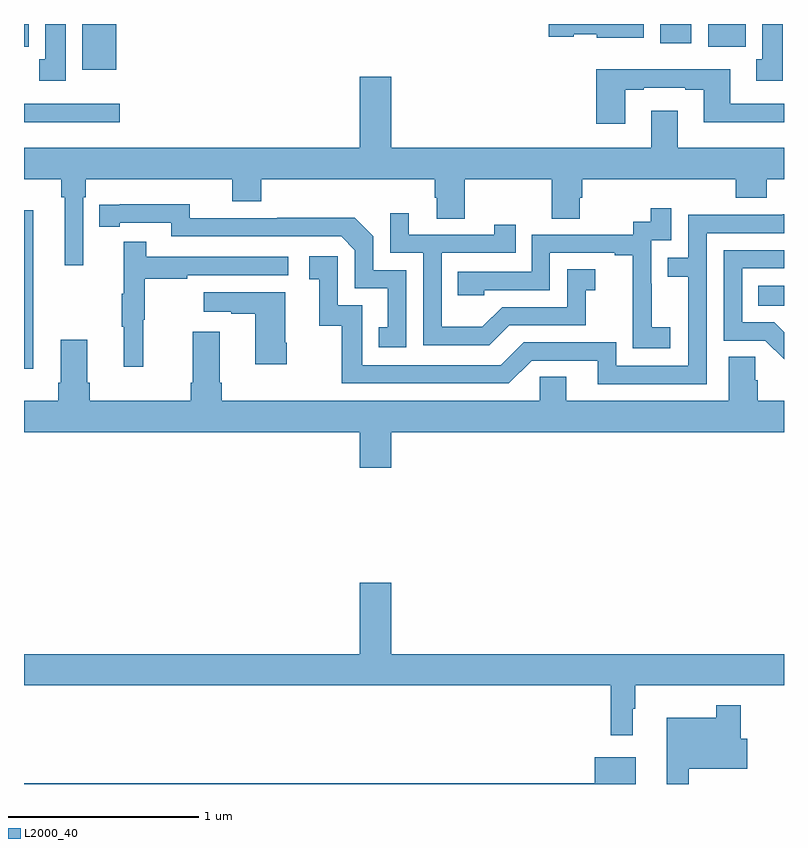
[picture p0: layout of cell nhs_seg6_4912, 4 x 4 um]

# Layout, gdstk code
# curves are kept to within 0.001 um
import gdstk
lib = gdstk.Library(unit=1e-6, precision=1e-09)
def R(c, l, rs):  # rectangles x0, y0, x1, y1
    for r in rs: c.add(gdstk.rectangle(r[:2], r[2:], *l))
def P(c, l, *ps):  # polygons
    for p in ps: c.add(gdstk.Polygon(p, *l))
L2000_40 = (2000, 40)

nhs_seg6_4912 = lib.new_cell('nhs_seg6_4912')
R(nhs_seg6_4912, L2000_40, [(403,931.686,403.048,932.521), (406.864,932.018,407,932.122), (403,932.984,403.504,933.081), (403.307,933.26,403.486,933.5), (403,933.38,403.024,933.5), (406.601,933.38,406.798,933.5), (406.349,933.398,406.513,933.5)])
P(nhs_seg6_4912, L2000_40, [(403.219,933.5),(403.112,933.5),(403.112,933.314),(403.079,933.314),(403.079,933.201),(403.219,933.201)],
  [(406.261,933.5),(405.762,933.5),(405.762,933.434),(405.894,933.434),(405.894,933.446),(406.014,933.446),(406.014,933.428),(406.261,933.428)],
  [(406.993,933.5),(406.886,933.5),(406.886,933.314),(406.853,933.314),(406.853,933.201),(406.993,933.201)],
  [(406.165,933.153),(406.261,933.153),(406.261,933.165),(406.481,933.165),(406.481,933.153),(406.577,933.153),(406.577,932.984),(407,932.984),(407,933.081),(406.717,933.081),(406.717,933.262),(406.013,933.262),(406.013,932.976),(406.165,932.976)],
  [(406.745,932.585),(406.91,932.585),(406.91,932.684),(407,932.684),(407,932.848),(406.441,932.848),(406.441,933.043),(406.301,933.043),(406.301,932.848),(404.932,932.848),(404.932,933.223),(404.768,933.223),(404.768,932.848),(403,932.848),(403,932.684),(403.195,932.684),(403.195,932.588),(403.214,932.588),(403.214,932.229),(403.311,932.229),(403.311,932.588),(403.325,932.588),(403.325,932.684),(404.096,932.684),(404.096,932.567),(404.249,932.567),(404.249,932.684),(405.161,932.684),(405.161,932.586),(405.173,932.586),(405.173,932.476),(405.321,932.476),(405.321,932.684),(405.778,932.684),(405.778,932.476),(405.925,932.476),(405.925,932.586),(405.938,932.586),(405.938,932.684),(406.745,932.684)],
  [(405.012,932.205),(404.838,932.205),(404.838,932.382),(404.74,932.48),(404.332,932.48),(404.332,932.478),(403.872,932.478),(403.872,932.551),(403.396,932.55),(403.396,932.434),(403.504,932.434),(403.504,932.454),(403.776,932.454),(403.776,932.382),(404.67,932.382),(404.742,932.31),(404.742,932.109),(404.915,932.109),(404.915,931.905),(404.866,931.905),(404.866,931.8),(405.012,931.8)],
  [(406.402,931.903),(406.304,931.903),(406.304,932.132),(406.302,932.132),(406.302,932.361),(406.407,932.361),(406.407,932.53),(406.299,932.53),(406.299,932.46),(406.206,932.46),(406.206,932.391),(405.672,932.391),(405.672,932.196),(405.283,932.196),(405.283,932.073),(405.423,932.073),(405.423,932.1),(405.768,932.1),(405.768,932.295),(406.109,932.295),(406.109,932.283),(406.205,932.283),(406.205,931.999),(406.204,931.999),(406.204,931.793),(406.402,931.793)],
  [(405.553,931.914),(405.957,931.914),(405.957,932.099),(406.006,932.099),(406.006,932.209),(405.858,932.209),(405.858,932.01),(405.516,932.01),(405.412,931.906),(405.198,931.906),(405.198,932.295),(405.587,932.295),(405.587,932.443),(405.476,932.443),(405.476,932.391),(405.025,932.391),(405.025,932.503),(404.928,932.503),(404.928,932.295),(405.102,932.295),(405.102,931.809),(405.448,931.809)],
  [(406.593,932.4),(407,932.4),(407,932.498),(406.993,932.498),(406.993,932.496),(406.497,932.496),(406.497,932.271),(406.387,932.271),(406.387,932.17),(406.497,932.17),(406.497,931.701),(406.116,931.701),(406.116,931.824),(405.63,931.824),(405.51,931.704),(404.781,931.704),(404.781,932.019),(404.652,932.019),(404.652,932.278),(404.502,932.278),(404.502,932.157),(404.555,932.157),(404.555,931.911),(404.673,931.911),(404.673,931.608),(405.552,931.608),(405.672,931.728),(406.019,931.728),(406.019,931.605),(406.593,931.605)],
  [(403.628,931.944),(403.636,931.944),(403.636,932.158),(403.859,932.158),(403.859,932.178),(404.392,932.178),(404.392,932.274),(403.643,932.274),(403.643,932.353),(403.526,932.353),(403.526,932.081),(403.515,932.081),(403.515,931.907),(403.526,931.907),(403.526,931.695),(403.628,931.695)],
  [(407,931.877),(406.948,931.929),(406.779,931.929),(406.779,932.214),(407,932.214),(407,932.31),(406.683,932.31),(406.683,931.833),(406.902,931.833),(407,931.736)],
  [(404.382,931.822),(404.374,931.822),(404.374,932.089),(403.947,932.089),(403.947,931.985),(404.09,931.985),(404.09,931.975),(404.216,931.975),(404.216,931.71),(404.382,931.71)],
  [(404.932,931.352),(407,931.352),(407,931.516),(406.862,931.516),(406.862,931.625),(406.848,931.625),(406.848,931.748),(406.709,931.748),(406.709,931.516),(405.853,931.516),(405.853,931.643),(405.714,931.643),(405.714,931.516),(404.042,931.516),(404.042,931.612),(404.029,931.612),(404.029,931.879),(403.889,931.879),(403.889,931.612),(403.877,931.612),(403.877,931.516),(403.346,931.516),(403.346,931.612),(403.333,931.612),(403.333,931.837),(403.193,931.837),(403.193,931.612),(403.181,931.612),(403.181,931.516),(403,931.516),(403,931.352),(404.768,931.352),(404.768,931.164),(404.932,931.164)],
  [(406.204,929.897),(406.216,929.897),(406.216,930.02),(407,930.02),(407,930.184),(404.932,930.184),(404.932,930.559),(404.768,930.559),(404.768,930.184),(403,930.184),(403,930.02),(406.087,930.02),(406.087,929.757),(406.204,929.757)],
  [(406.499,929.579),(406.807,929.579),(406.807,929.737),(406.772,929.737),(406.772,929.914),(406.644,929.914),(406.644,929.848),(406.382,929.848),(406.382,929.5),(406.499,929.5)],
  [(406.219,929.641),(406.004,929.641),(406.004,929.504),(403,929.504),(403,929.5),(406.219,929.5)])

lib.write_gds('nhs_seg6_4912.gds')
